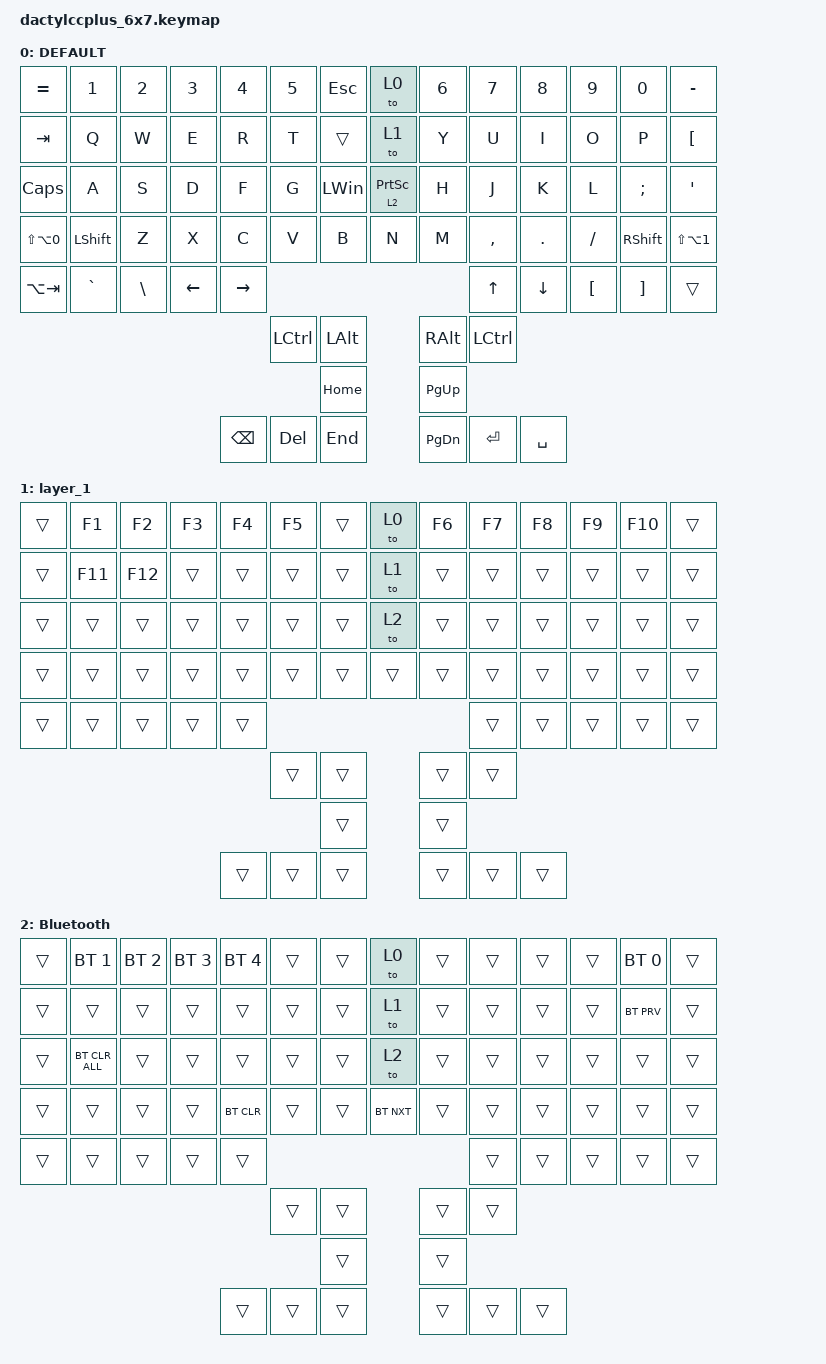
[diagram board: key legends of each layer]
#include <behaviors.dtsi>
#include <dt-bindings/zmk/bt.h>
#include <dt-bindings/zmk/keys.h>

#define DEFAULT 0
#define layer_1 1
#define Bluetooth 2

/ {
    combos {
        compatible = "zmk,combos";

        email_combo {
            bindings = <&email_macro>;
            key-positions = <54 68 2>;
        };

        pwd_combo {
            bindings = <&pwd_macro>;
            key-positions = <68 58>;
        };

        ctr_del_combo {
            bindings = <&ctrl_del_macro>;
            key-positions = <68 73>;
        };

        shift_del_combo {
            bindings = <&shift_del_macro>;
            key-positions = <54 73>;
        };
    };

    macros {
        email_macro: email_macro {
            compatible = "zmk,behavior-macro";
            #binding-cells = <0>;
            bindings = <&kp L &kp I &kp C &kp H &kp I &kp S &kp C &kp H &kp E &kp AT &kp G &kp M &kp A &kp I &kp L &kp DOT &kp C &kp O &kp M>;
            label = "EMAIL_MACRO";
        };

        pwd_macro: pwd {
            compatible = "zmk,behavior-macro";
            #binding-cells = <0>;
            bindings = <&kp D &kp A &kp G &kp O &kp R &kp R &kp A &kp T &kp I &kp S &kp T &kp O &kp L &kp K &kp I &kp E &kp N &kp W &kp A &kp R>;
            label = "PWD";
        };

        ctrl_del_macro: ctrl_del {
            compatible = "zmk,behavior-macro";
            #binding-cells = <0>;
            bindings = <&kp RS(RC(LA(RIGHT_ARROW))) &kp DEL>;
            label = "CTRL_DEL";
        };

        shift_del_macro: shift_del {
            compatible = "zmk,behavior-macro";
            #binding-cells = <0>;
            bindings = <&kp RS(END) &kp DEL>;
            label = "SHIFT_DEL";
        };
    };

    behaviors {
        printscreen_l3_behavior: printscreen_l3_behavior {
            compatible = "zmk,behavior-hold-tap";
            label = "PRINTSCREEN_L3_BEHAVIOR";
            bindings = <&to>, <&kp>;

            #binding-cells = <2>;
            tapping-term-ms = <1500>;
            hold-trigger-key-positions = <35>;
        };
    };

    keymap {
        compatible = "zmk,keymap";

        DEFAULT {
            bindings = <
                &kp EQUAL    &kp N1     &kp N2    &kp N3    &kp N4     &kp N5     &kp ESCAPE      &to 0                                   &kp N6                    &kp N7     &kp N8     &kp N9    &kp N0    &kp MINUS
                &kp TAB      &kp Q      &kp W     &kp E     &kp R      &kp T      &trans          &to 1                                   &kp Y                     &kp U      &kp I      &kp O     &kp P     &kp LBKT
                &kp CLCK     &kp A      &kp S     &kp D     &kp F      &kp G      &kp LEFT_WIN    &printscreen_l3_behavior 2 PRINTSCREEN  &kp H                     &kp J      &kp K      &kp L     &kp SEMI  &kp SQT
&kp LS(LA(N0))  &kp LSHFT    &kp Z      &kp X     &kp C     &kp V      &kp B                                                              &kp N                     &kp M      &kp COMMA  &kp DOT   &kp FSLH  &kp RSHFT  &kp LS(LA(NUMBER_1))
                &kp LA(TAB)  &kp GRAVE  &kp BSLH  &kp LEFT  &kp RIGHT                                                                                               &kp UP     &kp DOWN   &kp LBKT  &kp RBKT  &trans
                                                                       &kp LCTRL  &kp LEFT_ALT                                            &kp RIGHT_ALT  &kp LCTRL
                                                                                  &kp HOME                                                &kp PG_UP
                                                            &kp BSPC   &kp DEL    &kp END                                                 &kp PG_DN      &kp RET    &kp SPACE
            >;
        };

        layer_1 {
            bindings = <
        &trans  &kp F1   &kp F2   &kp F3  &kp F4  &kp F5  &trans    &to 0  &kp F6          &kp F7  &kp F8  &kp F9  &kp F10  &trans
        &trans  &kp F11  &kp F12  &trans  &trans  &trans  &trans    &to 1  &trans          &trans  &trans  &trans  &trans   &trans
        &trans  &trans   &trans   &trans  &trans  &trans  &trans    &to 2  &trans          &trans  &trans  &trans  &trans   &trans
&trans  &trans  &trans   &trans   &trans  &trans  &trans                   &trans          &trans  &trans  &trans  &trans   &trans  &trans
        &trans  &trans   &trans   &trans  &trans                                           &trans  &trans  &trans  &trans   &trans
                                                  &trans  &trans           &trans  &trans
                                                          &trans           &trans
                                          &trans  &trans  &trans           &trans  &trans  &trans
            >;
        };

        Bluetooth {
            bindings = <
        &trans  &bt BT_SEL 1    &bt BT_SEL 2  &bt BT_SEL 3  &bt BT_SEL 4  &trans  &trans    &to 0  &trans              &trans  &trans  &trans  &bt BT_SEL 0  &trans
        &trans  &trans          &trans        &trans        &trans        &trans  &trans    &to 1  &trans              &trans  &trans  &trans  &bt BT_PRV    &trans
        &trans  &bt BT_CLR_ALL  &trans        &trans        &trans        &trans  &trans    &to 2  &trans              &trans  &trans  &trans  &trans        &trans
&trans  &trans  &trans          &trans        &bt BT_CLR    &trans        &trans                   &bt BT_NXT          &trans  &trans  &trans  &trans        &trans  &trans
        &trans  &trans          &trans        &trans        &trans                                                     &trans  &trans  &trans  &trans        &trans
                                                                          &trans  &trans           &trans      &trans
                                                                                  &trans           &trans
                                                            &trans        &trans  &trans           &trans      &trans  &trans
            >;
        };
    };
};
